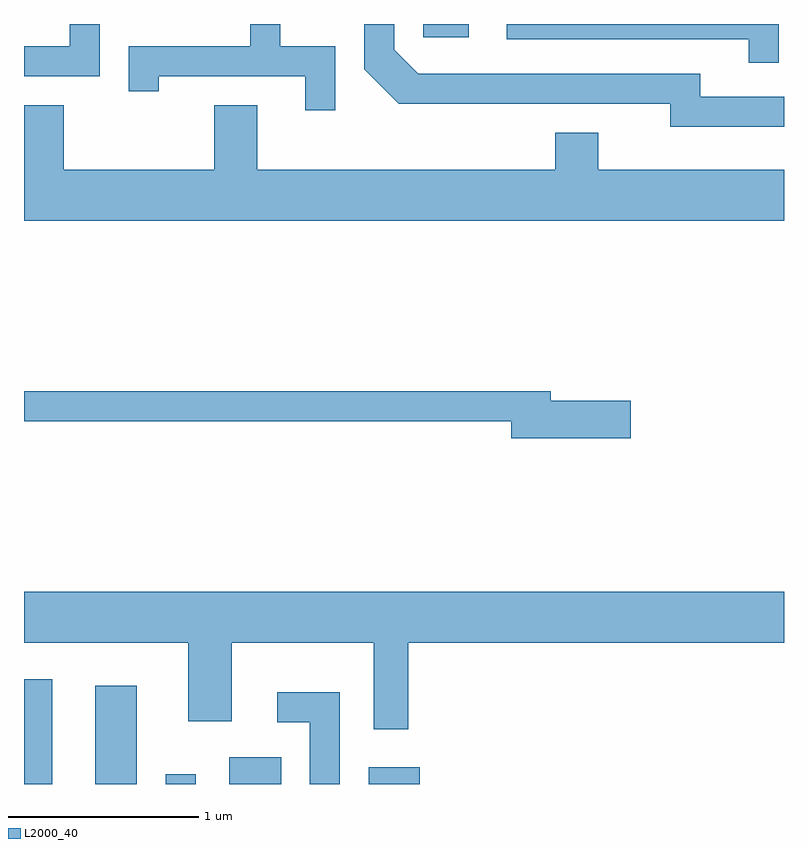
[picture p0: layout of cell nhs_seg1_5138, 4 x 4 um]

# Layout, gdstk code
import gdstk
lib = gdstk.Library(unit=1e-6, precision=1e-09)
def R(c, l, rs):  # rectangles x0, y0, x1, y1
    for r in rs: c.add(gdstk.rectangle(r[:2], r[2:], *l))
def P(c, l, *ps):  # polygons
    for p in ps: c.add(gdstk.Polygon(p, *l))
L2000_40 = (2000, 40)

nhs_seg1_5138 = lib.new_cell('nhs_seg1_5138')
R(nhs_seg1_5138, L2000_40, [(339.611,907.712,339.759,908.263), (339.986,907.712,340.204,908.229), (340.356,907.712,340.514,907.763), (340.691,907.712,340.964,907.854), (341.426,907.712,341.694,907.799), (341.711,911.641,341.953,911.712)])
P(nhs_seg1_5138, L2000_40, [(341.249,911.594),(340.959,911.594),(340.959,911.712),(340.801,911.712),(340.801,911.594),(340.161,911.594),(340.161,911.358),(340.319,911.358),(340.319,911.436),(341.091,911.436),(341.091,911.258),(341.249,911.258)],
  [(340.009,911.712),(339.851,911.712),(339.851,911.594),(339.611,911.594),(339.611,911.436),(340.009,911.436)],
  [(343.584,911.712),(342.153,911.712),(342.153,911.631),(343.426,911.631),(343.426,911.508),(343.584,911.508)],
  [(343.611,911.329),(343.169,911.329),(343.169,911.449),(341.687,911.449),(341.559,911.577),(341.559,911.712),(341.401,911.712),(341.401,911.474),(341.584,911.291),(343.011,911.291),(343.011,911.171),(343.611,911.171)],
  [(343.611,910.944),(342.634,910.944),(342.634,911.139),(342.406,911.139),(342.406,910.944),(340.839,910.944),(340.839,911.284),(340.611,911.284),(340.611,910.944),(339.819,910.944),(339.819,911.284),(339.611,911.284),(339.611,910.676),(343.611,910.676)],
  [(342.804,909.729),(342.384,909.729),(342.384,909.779),(339.611,909.779),(339.611,909.621),(342.176,909.621),(342.176,909.531),(342.804,909.531)],
  [(341.634,908.456),(343.611,908.456),(343.611,908.724),(339.611,908.724),(339.611,908.456),(340.476,908.456),(340.476,908.041),(340.704,908.041),(340.704,908.456),(341.451,908.456),(341.451,908.001),(341.634,908.001)],
  [(341.274,908.194),(340.943,908.194),(340.943,908.036),(341.116,908.036),(341.116,907.712),(341.274,907.712)])

lib.write_gds('nhs_seg1_5138.gds')
